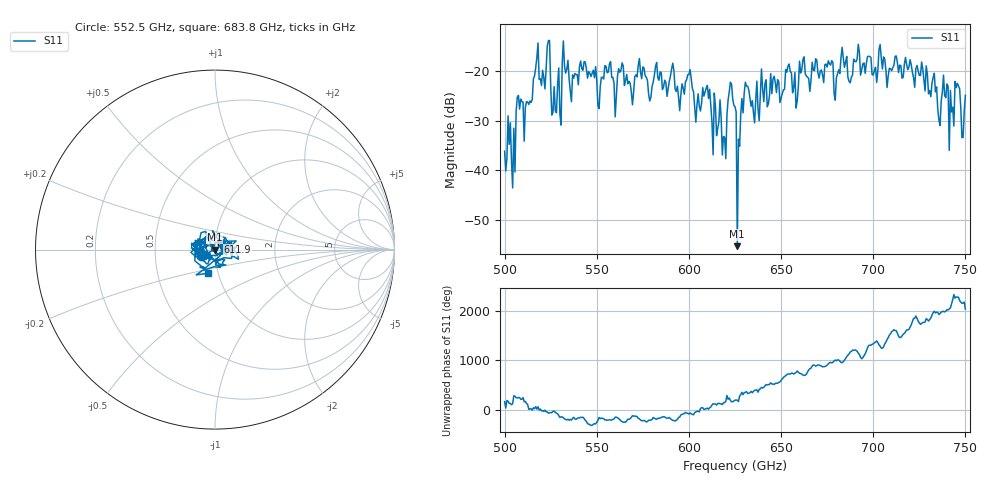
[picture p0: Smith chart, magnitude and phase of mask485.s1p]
!Created with skrf (http://scikit-rf.org).
# GHz S MA R 50.0
!freq magS11 angS11
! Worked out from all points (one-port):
!   401 points, 500 GHz to 750 GHz, reference 50 ohm
!   lowest |S11| = -55.4 dB at 626.2 GHz (marker M1), VSWR 1.00, Z = 49.8 - j0.0579 ohm
!   |S11| at or under -10 dB: start of sweep to end of sweep
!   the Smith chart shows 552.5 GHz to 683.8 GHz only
!   S11 on the Smith chart (normalised r, x): 552.5 GHz: 0.85, -0.06; 611.9 GHz: 1.03, +0.09; 683.8 GHz: 0.90, -0.24
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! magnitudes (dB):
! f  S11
! 500 GHz  -36.2
! 505 GHz  -31.5
! 507.5 GHz  -24.8
! 511.9 GHz  -26.1
! 516.9 GHz  -19.2
! 523.8 GHz  -13.8
! 526.9 GHz  -23.1
! 531.2 GHz  -18.4
! 552.5 GHz  -21.2
! 562.5 GHz  -20.2
! 593.8 GHz  -23.0
! 600 GHz  -20.6
! 611.9 GHz  -26.8
! 619.4 GHz  -33.3
! 622.5 GHz  -22.2
! 624.4 GHz  -26.8
! 625 GHz  -27.1
! 626.2 GHz  -55.4
! 631.2 GHz  -22.9
! 635 GHz  -28.3
! 656.2 GHz  -24.3
! 680 GHz  -21.3
! 683.8 GHz  -17.3
! 687.5 GHz  -22.3
! 718.8 GHz  -19.6
! 736.2 GHz  -30.9
! 745.6 GHz  -22.4
! 750 GHz  -24.8
